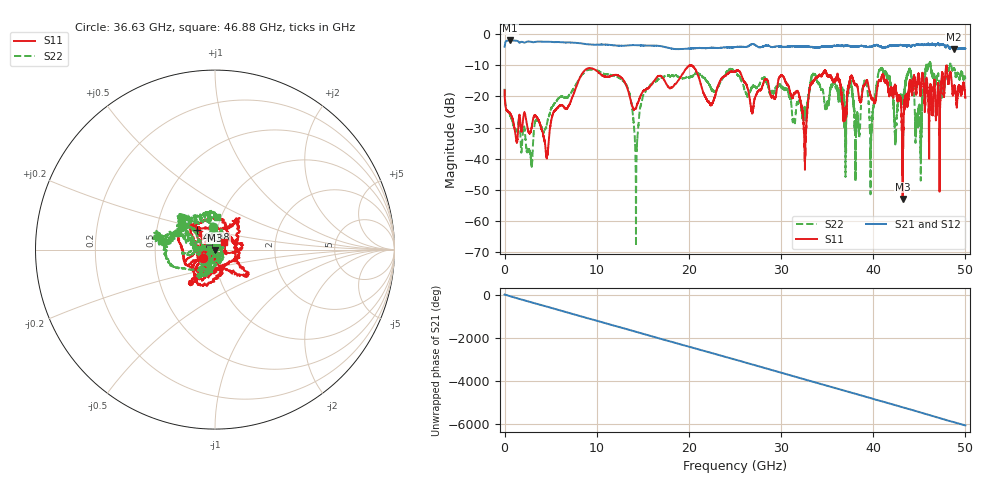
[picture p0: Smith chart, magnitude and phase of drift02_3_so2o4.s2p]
!Created with skrf (http://scikit-rf.org).
# Hz S RI R 50.0
!freq ReS11 ImS11 ReS21 ImS21 ReS12 ImS12 ReS22 ImS22
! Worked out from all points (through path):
!   10001 points, 300 kHz to 50 GHz, reference 50 ohm
!   highest |S21| = -2.00 dB at 610.3 MHz (marker M1); lowest = -4.9 dB at 48.77 GHz (marker M2)
!   group delay of S21, straight-line fit = 337 ps
!   lowest |S11| = -52.9 dB at 43.19 GHz (marker M3), VSWR 1.00, Z = 49.9 - j0.183 ohm
!   |S11| at or under -10 dB: start of sweep to 20.06 GHz; 20.08412 GHz to 20.08638 GHz (2.266 MHz wide, 0.0113 % of centre); 20.24 GHz to end of sweep (the widest 3 of 5)
!   |S22| runs from -68.1 to -8.9 dB; largest |S21 - S12| = 0.034
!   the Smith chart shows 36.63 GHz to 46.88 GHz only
!   S11 on the Smith chart (normalised r, x): 36.63 GHz: 0.87, -0.09; 44.08 GHz: 0.80, +0.18; 46.88 GHz: 1.10, +0.09
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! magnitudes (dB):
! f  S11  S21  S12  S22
! 300 kHz  -18.0  -4.0  -4.0  -17.5
! 610.3 MHz  -25.5  -2.0  -2.0  -26.3
! 4.565 GHz  -39.7  -2.4  -2.4  -29.3
! 8.335 GHz  -13.0  -2.9  -2.9  -13.3
! 13.04 GHz  -15.4  -3.7  -3.7  -15.6
! 14.28 GHz  -23.6  -3.5  -3.5  -49.3
! 16.67 GHz  -13.4  -3.7  -3.7  -14.5
! 25 GHz  -12.0  -4.1  -4.1  -12.0
! 30.16 GHz  -13.4  -4.1  -4.1  -17.2
! 32.56 GHz  -40.0  -3.9  -3.9  -24.9
! 33.34 GHz  -15.8  -4.1  -4.1  -13.4
! 36.63 GHz  -21.4  -3.7  -3.7  -17.9
! 38.28 GHz  -16.6  -3.9  -3.9  -25.4
! 39.14 GHz  -15.9  -3.8  -3.9  -14.6
! 39.8 GHz  -20.6  -4.0  -4.0  -30.3
! 41.67 GHz  -18.7  -3.8  -3.9  -13.3
! 43.19 GHz  -52.9  -3.6  -3.7  -21.5
! 44.08 GHz  -16.5  -4.0  -4.0  -12.2
! 44.99 GHz  -14.3  -3.4  -3.4  -23.1
! 46.88 GHz  -23.8  -3.3  -3.2  -14.8
! 48.77 GHz  -17.2  -4.9  -4.9  -11.0
! 50 GHz  -20.4  -4.6  -4.7  -14.5
